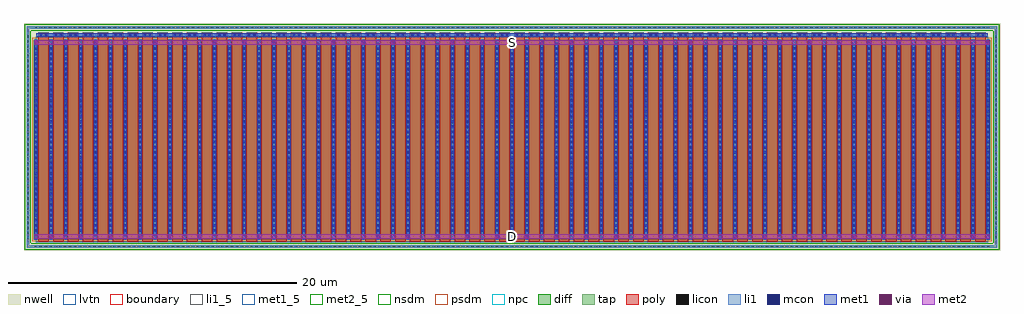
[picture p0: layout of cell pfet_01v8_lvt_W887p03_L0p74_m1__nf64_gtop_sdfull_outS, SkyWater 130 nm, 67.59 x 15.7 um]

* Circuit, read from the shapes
.subckt pfet_01v8_lvt_W887p03_L0p74_m1__nf64_gtop_sdfull_outS B D G S
XM1 D G S B sky130_fd_pr__pfet_01v8_lvt w=13.86 l=0.74 m=64
.ends

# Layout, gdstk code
import gdstk
lib = gdstk.Library(unit=1e-6, precision=1e-09)
def R(c, l, rs):  # rectangles x0, y0, x1, y1
    for r in rs: c.add(gdstk.rectangle(r[:2], r[2:], *l))
def A(c, l, x, y, w, h, nx, ny, dx, dy):  # array of equal rectangles
    R(c, l, [(x+i*dx, y+j*dy, x+i*dx+w, y+j*dy+h) for i in range(nx) for j in range(ny)])
nwell = (64, 20)
diff = (65, 20)
tap = (65, 44)
poly = (66, 20)
licon = (66, 44)
li1_5 = (67, 5)
li1 = (67, 20)
mcon = (67, 44)
met1_5 = (68, 5)
met1 = (68, 20)
via = (68, 44)
met2_5 = (69, 5)
met2 = (69, 20)
nsdm = (93, 44)
psdm = (94, 20)
npc = (95, 20)
lvtn = (125, 44)
boundary = (235, 4)

sky130_fd_pr__pfet_01v8_ = lib.new_cell('sky130_fd_pr__pfet_01v8_lvt_SZZT2C')
R(sky130_fd_pr__pfet_01v8_, nwell, [(-33.795,-7.85,33.795,7.85)])
R(sky130_fd_pr__pfet_01v8_, diff, [(-33.105,-7.11,33.105,6.75)])
R(sky130_fd_pr__pfet_01v8_, tap, [(-33.615,-7.67,33.615,-7.5), (-33.615,-7.5,-33.445,7.5), (33.445,-7.5,33.615,7.5), (-33.615,7.5,33.615,7.67)])
A(sky130_fd_pr__pfet_01v8_, poly, -32.815, -7.24, 0.74, 14.475, 64, 1, 1.03, 0)
A(sky130_fd_pr__pfet_01v8_, licon, -33.065, -7.67, 0.17, 0.17, 195, 2, 0.34, 15.17)
A(sky130_fd_pr__pfet_01v8_, licon, -33.615, -7.055, 0.17, 0.17, 1, 42, 0, 0.34)
A(sky130_fd_pr__pfet_01v8_, licon, 33.445, -7.055, 0.17, 0.17, 1, 42, 0, 0.34)
A(sky130_fd_pr__pfet_01v8_, licon, -33.045, -6.895, 0.17, 0.17, 65, 40, 1.03, 0.34)
R(sky130_fd_pr__pfet_01v8_, licon, [(-32.7,6.985,-32.53,7.155), (-32.36,6.985,-32.19,7.155), (-31.67,6.985,-31.5,7.155), (-31.33,6.985,-31.16,7.155), (-30.64,6.985,-30.47,7.155), (-30.3,6.985,-30.13,7.155), (-29.61,6.985,-29.44,7.155), (-29.27,6.985,-29.1,7.155), (-28.58,6.985,-28.41,7.155), (-28.24,6.985,-28.07,7.155), (-27.55,6.985,-27.38,7.155), (-27.21,6.985,-27.04,7.155), (-26.52,6.985,-26.35,7.155), (-26.18,6.985,-26.01,7.155), (-25.49,6.985,-25.32,7.155), (-25.15,6.985,-24.98,7.155), (-24.46,6.985,-24.29,7.155), (-24.12,6.985,-23.95,7.155), (-23.43,6.985,-23.26,7.155), (-23.09,6.985,-22.92,7.155), (-22.4,6.985,-22.23,7.155), (-22.06,6.985,-21.89,7.155), (-21.37,6.985,-21.2,7.155), (-21.03,6.985,-20.86,7.155), (-20.34,6.985,-20.17,7.155), (-20,6.985,-19.83,7.155), (-19.31,6.985,-19.14,7.155), (-18.97,6.985,-18.8,7.155), (-18.28,6.985,-18.11,7.155), (-17.94,6.985,-17.77,7.155), (-17.25,6.985,-17.08,7.155), (-16.91,6.985,-16.74,7.155), (-16.22,6.985,-16.05,7.155), (-15.88,6.985,-15.71,7.155), (-15.19,6.985,-15.02,7.155), (-14.85,6.985,-14.68,7.155), (-14.16,6.985,-13.99,7.155), (-13.82,6.985,-13.65,7.155), (-13.13,6.985,-12.96,7.155), (-12.79,6.985,-12.62,7.155), (-12.1,6.985,-11.93,7.155), (-11.76,6.985,-11.59,7.155), (-11.07,6.985,-10.9,7.155), (-10.73,6.985,-10.56,7.155), (-10.04,6.985,-9.87,7.155), (-9.7,6.985,-9.53,7.155), (-9.01,6.985,-8.84,7.155), (-8.67,6.985,-8.5,7.155), (-7.98,6.985,-7.81,7.155), (-7.64,6.985,-7.47,7.155), (-6.95,6.985,-6.78,7.155), (-6.61,6.985,-6.44,7.155), (-5.92,6.985,-5.75,7.155), (-5.58,6.985,-5.41,7.155), (-4.89,6.985,-4.72,7.155), (-4.55,6.985,-4.38,7.155), (-3.86,6.985,-3.69,7.155), (-3.52,6.985,-3.35,7.155), (-2.83,6.985,-2.66,7.155), (-2.49,6.985,-2.32,7.155), (-1.8,6.985,-1.63,7.155), (-1.46,6.985,-1.29,7.155), (-0.77,6.985,-0.6,7.155), (-0.43,6.985,-0.26,7.155), (0.26,6.985,0.43,7.155), (0.6,6.985,0.77,7.155), (1.29,6.985,1.46,7.155), (1.63,6.985,1.8,7.155), (2.32,6.985,2.49,7.155), (2.66,6.985,2.83,7.155), (3.35,6.985,3.52,7.155), (3.69,6.985,3.86,7.155), (4.38,6.985,4.55,7.155), (4.72,6.985,4.89,7.155), (5.41,6.985,5.58,7.155), (5.75,6.985,5.92,7.155), (6.44,6.985,6.61,7.155), (6.78,6.985,6.95,7.155), (7.47,6.985,7.64,7.155), (7.81,6.985,7.98,7.155), (8.5,6.985,8.67,7.155), (8.84,6.985,9.01,7.155), (9.53,6.985,9.7,7.155), (9.87,6.985,10.04,7.155), (10.56,6.985,10.73,7.155), (10.9,6.985,11.07,7.155), (11.59,6.985,11.76,7.155), (11.93,6.985,12.1,7.155), (12.62,6.985,12.79,7.155), (12.96,6.985,13.13,7.155), (13.65,6.985,13.82,7.155), (13.99,6.985,14.16,7.155), (14.68,6.985,14.85,7.155), (15.02,6.985,15.19,7.155), (15.71,6.985,15.88,7.155), (16.05,6.985,16.22,7.155), (16.74,6.985,16.91,7.155), (17.08,6.985,17.25,7.155), (17.77,6.985,17.94,7.155), (18.11,6.985,18.28,7.155), (18.8,6.985,18.97,7.155), (19.14,6.985,19.31,7.155), (19.83,6.985,20,7.155), (20.17,6.985,20.34,7.155), (20.86,6.985,21.03,7.155), (21.2,6.985,21.37,7.155), (21.89,6.985,22.06,7.155), (22.23,6.985,22.4,7.155), (22.92,6.985,23.09,7.155), (23.26,6.985,23.43,7.155), (23.95,6.985,24.12,7.155), (24.29,6.985,24.46,7.155), (24.98,6.985,25.15,7.155), (25.32,6.985,25.49,7.155), (26.01,6.985,26.18,7.155), (26.35,6.985,26.52,7.155), (27.04,6.985,27.21,7.155), (27.38,6.985,27.55,7.155), (28.07,6.985,28.24,7.155), (28.41,6.985,28.58,7.155), (29.1,6.985,29.27,7.155), (29.44,6.985,29.61,7.155), (30.13,6.985,30.3,7.155), (30.47,6.985,30.64,7.155), (31.16,6.985,31.33,7.155), (31.5,6.985,31.67,7.155), (32.19,6.985,32.36,7.155), (32.53,6.985,32.7,7.155)])
A(sky130_fd_pr__pfet_01v8_, li1, -33.045, -7.13, 0.17, 13.9, 65, 1, 1.03, 0)
R(sky130_fd_pr__pfet_01v8_, li1, [(-33.615,-7.67,33.615,-7.5), (-33.615,-7.5,-33.445,7.5), (33.445,-7.5,33.615,7.5), (-32.96,6.985,32.96,7.155), (-33.615,7.5,33.615,7.67)])
A(sky130_fd_pr__pfet_01v8_, mcon, -33.045, -6.925, 0.17, 0.17, 65, 38, 1.03, 0.36)
R(sky130_fd_pr__pfet_01v8_, mcon, [(-32.71,6.985,-32.54,7.155), (-32.35,6.985,-32.18,7.155), (-31.68,6.985,-31.51,7.155), (-31.32,6.985,-31.15,7.155), (-30.65,6.985,-30.48,7.155), (-30.29,6.985,-30.12,7.155), (-29.62,6.985,-29.45,7.155), (-29.26,6.985,-29.09,7.155), (-28.59,6.985,-28.42,7.155), (-28.23,6.985,-28.06,7.155), (-27.56,6.985,-27.39,7.155), (-27.2,6.985,-27.03,7.155), (-26.53,6.985,-26.36,7.155), (-26.17,6.985,-26,7.155), (-25.5,6.985,-25.33,7.155), (-25.14,6.985,-24.97,7.155), (-24.47,6.985,-24.3,7.155), (-24.11,6.985,-23.94,7.155), (-23.44,6.985,-23.27,7.155), (-23.08,6.985,-22.91,7.155), (-22.41,6.985,-22.24,7.155), (-22.05,6.985,-21.88,7.155), (-21.38,6.985,-21.21,7.155), (-21.02,6.985,-20.85,7.155), (-20.35,6.985,-20.18,7.155), (-19.99,6.985,-19.82,7.155), (-19.32,6.985,-19.15,7.155), (-18.96,6.985,-18.79,7.155), (-18.29,6.985,-18.12,7.155), (-17.93,6.985,-17.76,7.155), (-17.26,6.985,-17.09,7.155), (-16.9,6.985,-16.73,7.155), (-16.23,6.985,-16.06,7.155), (-15.87,6.985,-15.7,7.155), (-15.2,6.985,-15.03,7.155), (-14.84,6.985,-14.67,7.155), (-14.17,6.985,-14,7.155), (-13.81,6.985,-13.64,7.155), (-13.14,6.985,-12.97,7.155), (-12.78,6.985,-12.61,7.155), (-12.11,6.985,-11.94,7.155), (-11.75,6.985,-11.58,7.155), (-11.08,6.985,-10.91,7.155), (-10.72,6.985,-10.55,7.155), (-10.05,6.985,-9.88,7.155), (-9.69,6.985,-9.52,7.155), (-9.02,6.985,-8.85,7.155), (-8.66,6.985,-8.49,7.155), (-7.99,6.985,-7.82,7.155), (-7.63,6.985,-7.46,7.155), (-6.96,6.985,-6.79,7.155), (-6.6,6.985,-6.43,7.155), (-5.93,6.985,-5.76,7.155), (-5.57,6.985,-5.4,7.155), (-4.9,6.985,-4.73,7.155), (-4.54,6.985,-4.37,7.155), (-3.87,6.985,-3.7,7.155), (-3.51,6.985,-3.34,7.155), (-2.84,6.985,-2.67,7.155), (-2.48,6.985,-2.31,7.155), (-1.81,6.985,-1.64,7.155), (-1.45,6.985,-1.28,7.155), (-0.78,6.985,-0.61,7.155), (-0.42,6.985,-0.25,7.155), (0.25,6.985,0.42,7.155), (0.61,6.985,0.78,7.155), (1.28,6.985,1.45,7.155), (1.64,6.985,1.81,7.155), (2.31,6.985,2.48,7.155), (2.67,6.985,2.84,7.155), (3.34,6.985,3.51,7.155), (3.7,6.985,3.87,7.155), (4.37,6.985,4.54,7.155), (4.73,6.985,4.9,7.155), (5.4,6.985,5.57,7.155), (5.76,6.985,5.93,7.155), (6.43,6.985,6.6,7.155), (6.79,6.985,6.96,7.155), (7.46,6.985,7.63,7.155), (7.82,6.985,7.99,7.155), (8.49,6.985,8.66,7.155), (8.85,6.985,9.02,7.155), (9.52,6.985,9.69,7.155), (9.88,6.985,10.05,7.155), (10.55,6.985,10.72,7.155), (10.91,6.985,11.08,7.155), (11.58,6.985,11.75,7.155), (11.94,6.985,12.11,7.155), (12.61,6.985,12.78,7.155), (12.97,6.985,13.14,7.155), (13.64,6.985,13.81,7.155), (14,6.985,14.17,7.155), (14.67,6.985,14.84,7.155), (15.03,6.985,15.2,7.155), (15.7,6.985,15.87,7.155), (16.06,6.985,16.23,7.155), (16.73,6.985,16.9,7.155), (17.09,6.985,17.26,7.155), (17.76,6.985,17.93,7.155), (18.12,6.985,18.29,7.155), (18.79,6.985,18.96,7.155), (19.15,6.985,19.32,7.155), (19.82,6.985,19.99,7.155), (20.18,6.985,20.35,7.155), (20.85,6.985,21.02,7.155), (21.21,6.985,21.38,7.155), (21.88,6.985,22.05,7.155), (22.24,6.985,22.41,7.155), (22.91,6.985,23.08,7.155), (23.27,6.985,23.44,7.155), (23.94,6.985,24.11,7.155), (24.3,6.985,24.47,7.155), (24.97,6.985,25.14,7.155), (25.33,6.985,25.5,7.155), (26,6.985,26.17,7.155), (26.36,6.985,26.53,7.155), (27.03,6.985,27.2,7.155), (27.39,6.985,27.56,7.155), (28.06,6.985,28.23,7.155), (28.42,6.985,28.59,7.155), (29.09,6.985,29.26,7.155), (29.45,6.985,29.62,7.155), (30.12,6.985,30.29,7.155), (30.48,6.985,30.65,7.155), (31.15,6.985,31.32,7.155), (31.51,6.985,31.68,7.155), (32.18,6.985,32.35,7.155), (32.54,6.985,32.71,7.155)])
A(sky130_fd_pr__pfet_01v8_, met1, -33.075, -7.11, 0.23, 13.86, 65, 1, 1.03, 0)
A(sky130_fd_pr__pfet_01v8_, met1, -32.795, 6.955, 0.7, 0.03, 64, 2, 1.03, 0.2)
R(sky130_fd_pr__pfet_01v8_, met1, [(-32.96,6.985,32.96,7.155)])
R(sky130_fd_pr__pfet_01v8_, nsdm, [(-33.74,-7.795,33.74,-7.375), (-33.74,-7.375,-33.32,7.375), (33.32,-7.375,33.74,7.375), (-33.74,7.375,33.74,7.795)])
R(sky130_fd_pr__pfet_01v8_, psdm, [(-33.23,-7.235,33.23,6.875)])
A(sky130_fd_pr__pfet_01v8_, npc, -32.8, 6.885, 0.71, 0.37, 64, 1, 1.03, 0)
R(sky130_fd_pr__pfet_01v8_, lvtn, [(-32.995,-7.29,32.995,6.93)])
R(sky130_fd_pr__pfet_01v8_, boundary, [(-33.53,-7.585,33.53,7.585)])
sky130_fd_pr__pfet_01v8_.add(gdstk.Label('B', (0,-7.585), layer=67, texttype=5))
sky130_fd_pr__pfet_01v8_.add(gdstk.Label('D0', (-32.96,-0.18), layer=67, texttype=5))
sky130_fd_pr__pfet_01v8_.add(gdstk.Label('G', (32.445,7.07), layer=67, texttype=5))
sky130_fd_pr__pfet_01v8_.add(gdstk.Label('G', (31.415,7.07), layer=67, texttype=5))
sky130_fd_pr__pfet_01v8_.add(gdstk.Label('G', (30.385,7.07), layer=67, texttype=5))
sky130_fd_pr__pfet_01v8_.add(gdstk.Label('G', (29.355,7.07), layer=67, texttype=5))
sky130_fd_pr__pfet_01v8_.add(gdstk.Label('G', (28.325,7.07), layer=67, texttype=5))
sky130_fd_pr__pfet_01v8_.add(gdstk.Label('G', (27.295,7.07), layer=67, texttype=5))
sky130_fd_pr__pfet_01v8_.add(gdstk.Label('G', (26.265,7.07), layer=67, texttype=5))
sky130_fd_pr__pfet_01v8_.add(gdstk.Label('G', (25.235,7.07), layer=67, texttype=5))
sky130_fd_pr__pfet_01v8_.add(gdstk.Label('G', (24.205,7.07), layer=67, texttype=5))
sky130_fd_pr__pfet_01v8_.add(gdstk.Label('G', (23.175,7.07), layer=67, texttype=5))
sky130_fd_pr__pfet_01v8_.add(gdstk.Label('G', (22.145,7.07), layer=67, texttype=5))
sky130_fd_pr__pfet_01v8_.add(gdstk.Label('G', (21.115,7.07), layer=67, texttype=5))
sky130_fd_pr__pfet_01v8_.add(gdstk.Label('G', (20.085,7.07), layer=67, texttype=5))
sky130_fd_pr__pfet_01v8_.add(gdstk.Label('G', (19.055,7.07), layer=67, texttype=5))
sky130_fd_pr__pfet_01v8_.add(gdstk.Label('G', (18.025,7.07), layer=67, texttype=5))
sky130_fd_pr__pfet_01v8_.add(gdstk.Label('G', (16.995,7.07), layer=67, texttype=5))
sky130_fd_pr__pfet_01v8_.add(gdstk.Label('G', (15.965,7.07), layer=67, texttype=5))
sky130_fd_pr__pfet_01v8_.add(gdstk.Label('G', (14.935,7.07), layer=67, texttype=5))
sky130_fd_pr__pfet_01v8_.add(gdstk.Label('G', (13.905,7.07), layer=67, texttype=5))
sky130_fd_pr__pfet_01v8_.add(gdstk.Label('G', (12.875,7.07), layer=67, texttype=5))
sky130_fd_pr__pfet_01v8_.add(gdstk.Label('G', (11.845,7.07), layer=67, texttype=5))
sky130_fd_pr__pfet_01v8_.add(gdstk.Label('G', (10.815,7.07), layer=67, texttype=5))
sky130_fd_pr__pfet_01v8_.add(gdstk.Label('G', (9.785,7.07), layer=67, texttype=5))
sky130_fd_pr__pfet_01v8_.add(gdstk.Label('G', (8.755,7.07), layer=67, texttype=5))
sky130_fd_pr__pfet_01v8_.add(gdstk.Label('G', (7.725,7.07), layer=67, texttype=5))
sky130_fd_pr__pfet_01v8_.add(gdstk.Label('G', (6.695,7.07), layer=67, texttype=5))
sky130_fd_pr__pfet_01v8_.add(gdstk.Label('G', (5.665,7.07), layer=67, texttype=5))
sky130_fd_pr__pfet_01v8_.add(gdstk.Label('G', (4.635,7.07), layer=67, texttype=5))
sky130_fd_pr__pfet_01v8_.add(gdstk.Label('G', (3.605,7.07), layer=67, texttype=5))
sky130_fd_pr__pfet_01v8_.add(gdstk.Label('G', (2.575,7.07), layer=67, texttype=5))
sky130_fd_pr__pfet_01v8_.add(gdstk.Label('G', (1.545,7.07), layer=67, texttype=5))
sky130_fd_pr__pfet_01v8_.add(gdstk.Label('G', (0.515,7.07), layer=67, texttype=5))
sky130_fd_pr__pfet_01v8_.add(gdstk.Label('G', (-0.515,7.07), layer=67, texttype=5))
sky130_fd_pr__pfet_01v8_.add(gdstk.Label('G', (-1.545,7.07), layer=67, texttype=5))
sky130_fd_pr__pfet_01v8_.add(gdstk.Label('G', (-2.575,7.07), layer=67, texttype=5))
sky130_fd_pr__pfet_01v8_.add(gdstk.Label('G', (-3.605,7.07), layer=67, texttype=5))
sky130_fd_pr__pfet_01v8_.add(gdstk.Label('G', (-4.635,7.07), layer=67, texttype=5))
sky130_fd_pr__pfet_01v8_.add(gdstk.Label('G', (-5.665,7.07), layer=67, texttype=5))
sky130_fd_pr__pfet_01v8_.add(gdstk.Label('G', (-6.695,7.07), layer=67, texttype=5))
sky130_fd_pr__pfet_01v8_.add(gdstk.Label('G', (-7.725,7.07), layer=67, texttype=5))
sky130_fd_pr__pfet_01v8_.add(gdstk.Label('G', (-8.755,7.07), layer=67, texttype=5))
sky130_fd_pr__pfet_01v8_.add(gdstk.Label('G', (-9.785,7.07), layer=67, texttype=5))
sky130_fd_pr__pfet_01v8_.add(gdstk.Label('G', (-10.815,7.07), layer=67, texttype=5))
sky130_fd_pr__pfet_01v8_.add(gdstk.Label('G', (-11.845,7.07), layer=67, texttype=5))
sky130_fd_pr__pfet_01v8_.add(gdstk.Label('G', (-12.875,7.07), layer=67, texttype=5))
sky130_fd_pr__pfet_01v8_.add(gdstk.Label('G', (-13.905,7.07), layer=67, texttype=5))
sky130_fd_pr__pfet_01v8_.add(gdstk.Label('G', (-14.935,7.07), layer=67, texttype=5))
sky130_fd_pr__pfet_01v8_.add(gdstk.Label('G', (-15.965,7.07), layer=67, texttype=5))
sky130_fd_pr__pfet_01v8_.add(gdstk.Label('G', (-16.995,7.07), layer=67, texttype=5))
sky130_fd_pr__pfet_01v8_.add(gdstk.Label('G', (-18.025,7.07), layer=67, texttype=5))
sky130_fd_pr__pfet_01v8_.add(gdstk.Label('G', (-19.055,7.07), layer=67, texttype=5))
sky130_fd_pr__pfet_01v8_.add(gdstk.Label('G', (-20.085,7.07), layer=67, texttype=5))
sky130_fd_pr__pfet_01v8_.add(gdstk.Label('G', (-21.115,7.07), layer=67, texttype=5))
sky130_fd_pr__pfet_01v8_.add(gdstk.Label('G', (-22.145,7.07), layer=67, texttype=5))
sky130_fd_pr__pfet_01v8_.add(gdstk.Label('G', (-23.175,7.07), layer=67, texttype=5))
sky130_fd_pr__pfet_01v8_.add(gdstk.Label('G', (-24.205,7.07), layer=67, texttype=5))
sky130_fd_pr__pfet_01v8_.add(gdstk.Label('G', (-25.235,7.07), layer=67, texttype=5))
sky130_fd_pr__pfet_01v8_.add(gdstk.Label('G', (-26.265,7.07), layer=67, texttype=5))
sky130_fd_pr__pfet_01v8_.add(gdstk.Label('G', (-27.295,7.07), layer=67, texttype=5))
sky130_fd_pr__pfet_01v8_.add(gdstk.Label('G', (-28.325,7.07), layer=67, texttype=5))
sky130_fd_pr__pfet_01v8_.add(gdstk.Label('G', (-29.355,7.07), layer=67, texttype=5))
sky130_fd_pr__pfet_01v8_.add(gdstk.Label('G', (-30.385,7.07), layer=67, texttype=5))
sky130_fd_pr__pfet_01v8_.add(gdstk.Label('G', (-31.415,7.07), layer=67, texttype=5))
sky130_fd_pr__pfet_01v8_.add(gdstk.Label('G', (-32.445,7.07), layer=67, texttype=5))
sky130_fd_pr__pfet_01v8_.add(gdstk.Label('S1', (-31.93,-0.18), layer=67, texttype=5))
sky130_fd_pr__pfet_01v8_.add(gdstk.Label('D2', (-30.9,-0.18), layer=67, texttype=5))
sky130_fd_pr__pfet_01v8_.add(gdstk.Label('S3', (-29.87,-0.18), layer=67, texttype=5))
sky130_fd_pr__pfet_01v8_.add(gdstk.Label('D4', (-28.84,-0.18), layer=67, texttype=5))
sky130_fd_pr__pfet_01v8_.add(gdstk.Label('S5', (-27.81,-0.18), layer=67, texttype=5))
sky130_fd_pr__pfet_01v8_.add(gdstk.Label('D6', (-26.78,-0.18), layer=67, texttype=5))
sky130_fd_pr__pfet_01v8_.add(gdstk.Label('S7', (-25.75,-0.18), layer=67, texttype=5))
sky130_fd_pr__pfet_01v8_.add(gdstk.Label('D8', (-24.72,-0.18), layer=67, texttype=5))
sky130_fd_pr__pfet_01v8_.add(gdstk.Label('S9', (-23.69,-0.18), layer=67, texttype=5))
sky130_fd_pr__pfet_01v8_.add(gdstk.Label('D10', (-22.66,-0.18), layer=67, texttype=5))
sky130_fd_pr__pfet_01v8_.add(gdstk.Label('S11', (-21.63,-0.18), layer=67, texttype=5))
sky130_fd_pr__pfet_01v8_.add(gdstk.Label('D12', (-20.6,-0.18), layer=67, texttype=5))
sky130_fd_pr__pfet_01v8_.add(gdstk.Label('S13', (-19.57,-0.18), layer=67, texttype=5))
sky130_fd_pr__pfet_01v8_.add(gdstk.Label('D14', (-18.54,-0.18), layer=67, texttype=5))
sky130_fd_pr__pfet_01v8_.add(gdstk.Label('S15', (-17.51,-0.18), layer=67, texttype=5))
sky130_fd_pr__pfet_01v8_.add(gdstk.Label('D16', (-16.48,-0.18), layer=67, texttype=5))
sky130_fd_pr__pfet_01v8_.add(gdstk.Label('S17', (-15.45,-0.18), layer=67, texttype=5))
sky130_fd_pr__pfet_01v8_.add(gdstk.Label('D18', (-14.42,-0.18), layer=67, texttype=5))
sky130_fd_pr__pfet_01v8_.add(gdstk.Label('S19', (-13.39,-0.18), layer=67, texttype=5))
sky130_fd_pr__pfet_01v8_.add(gdstk.Label('D20', (-12.36,-0.18), layer=67, texttype=5))
sky130_fd_pr__pfet_01v8_.add(gdstk.Label('S21', (-11.33,-0.18), layer=67, texttype=5))
sky130_fd_pr__pfet_01v8_.add(gdstk.Label('D22', (-10.3,-0.18), layer=67, texttype=5))
sky130_fd_pr__pfet_01v8_.add(gdstk.Label('S23', (-9.27,-0.18), layer=67, texttype=5))
sky130_fd_pr__pfet_01v8_.add(gdstk.Label('D24', (-8.24,-0.18), layer=67, texttype=5))
sky130_fd_pr__pfet_01v8_.add(gdstk.Label('S25', (-7.21,-0.18), layer=67, texttype=5))
sky130_fd_pr__pfet_01v8_.add(gdstk.Label('D26', (-6.18,-0.18), layer=67, texttype=5))
sky130_fd_pr__pfet_01v8_.add(gdstk.Label('S27', (-5.15,-0.18), layer=67, texttype=5))
sky130_fd_pr__pfet_01v8_.add(gdstk.Label('D28', (-4.12,-0.18), layer=67, texttype=5))
sky130_fd_pr__pfet_01v8_.add(gdstk.Label('S29', (-3.09,-0.18), layer=67, texttype=5))
sky130_fd_pr__pfet_01v8_.add(gdstk.Label('D30', (-2.06,-0.18), layer=67, texttype=5))
sky130_fd_pr__pfet_01v8_.add(gdstk.Label('S31', (-1.03,-0.18), layer=67, texttype=5))
sky130_fd_pr__pfet_01v8_.add(gdstk.Label('D32', (0,-0.18), layer=67, texttype=5))
sky130_fd_pr__pfet_01v8_.add(gdstk.Label('S33', (1.03,-0.18), layer=67, texttype=5))
sky130_fd_pr__pfet_01v8_.add(gdstk.Label('D34', (2.06,-0.18), layer=67, texttype=5))
sky130_fd_pr__pfet_01v8_.add(gdstk.Label('S35', (3.09,-0.18), layer=67, texttype=5))
sky130_fd_pr__pfet_01v8_.add(gdstk.Label('D36', (4.12,-0.18), layer=67, texttype=5))
sky130_fd_pr__pfet_01v8_.add(gdstk.Label('S37', (5.15,-0.18), layer=67, texttype=5))
sky130_fd_pr__pfet_01v8_.add(gdstk.Label('D38', (6.18,-0.18), layer=67, texttype=5))
sky130_fd_pr__pfet_01v8_.add(gdstk.Label('S39', (7.21,-0.18), layer=67, texttype=5))
sky130_fd_pr__pfet_01v8_.add(gdstk.Label('D40', (8.24,-0.18), layer=67, texttype=5))
sky130_fd_pr__pfet_01v8_.add(gdstk.Label('S41', (9.27,-0.18), layer=67, texttype=5))
sky130_fd_pr__pfet_01v8_.add(gdstk.Label('D42', (10.3,-0.18), layer=67, texttype=5))
sky130_fd_pr__pfet_01v8_.add(gdstk.Label('S43', (11.33,-0.18), layer=67, texttype=5))
sky130_fd_pr__pfet_01v8_.add(gdstk.Label('D44', (12.36,-0.18), layer=67, texttype=5))
sky130_fd_pr__pfet_01v8_.add(gdstk.Label('S45', (13.39,-0.18), layer=67, texttype=5))
sky130_fd_pr__pfet_01v8_.add(gdstk.Label('D46', (14.42,-0.18), layer=67, texttype=5))
sky130_fd_pr__pfet_01v8_.add(gdstk.Label('S47', (15.45,-0.18), layer=67, texttype=5))
sky130_fd_pr__pfet_01v8_.add(gdstk.Label('D48', (16.48,-0.18), layer=67, texttype=5))
sky130_fd_pr__pfet_01v8_.add(gdstk.Label('S49', (17.51,-0.18), layer=67, texttype=5))
sky130_fd_pr__pfet_01v8_.add(gdstk.Label('D50', (18.54,-0.18), layer=67, texttype=5))
sky130_fd_pr__pfet_01v8_.add(gdstk.Label('S51', (19.57,-0.18), layer=67, texttype=5))
sky130_fd_pr__pfet_01v8_.add(gdstk.Label('D52', (20.6,-0.18), layer=67, texttype=5))
sky130_fd_pr__pfet_01v8_.add(gdstk.Label('S53', (21.63,-0.18), layer=67, texttype=5))
sky130_fd_pr__pfet_01v8_.add(gdstk.Label('D54', (22.66,-0.18), layer=67, texttype=5))
sky130_fd_pr__pfet_01v8_.add(gdstk.Label('S55', (23.69,-0.18), layer=67, texttype=5))
sky130_fd_pr__pfet_01v8_.add(gdstk.Label('D56', (24.72,-0.18), layer=67, texttype=5))
sky130_fd_pr__pfet_01v8_.add(gdstk.Label('S57', (25.75,-0.18), layer=67, texttype=5))
sky130_fd_pr__pfet_01v8_.add(gdstk.Label('D58', (26.78,-0.18), layer=67, texttype=5))
sky130_fd_pr__pfet_01v8_.add(gdstk.Label('S59', (27.81,-0.18), layer=67, texttype=5))
sky130_fd_pr__pfet_01v8_.add(gdstk.Label('D60', (28.84,-0.18), layer=67, texttype=5))
sky130_fd_pr__pfet_01v8_.add(gdstk.Label('S61', (29.87,-0.18), layer=67, texttype=5))
sky130_fd_pr__pfet_01v8_.add(gdstk.Label('D62', (30.9,-0.18), layer=67, texttype=5))
sky130_fd_pr__pfet_01v8_.add(gdstk.Label('S63', (31.93,-0.18), layer=67, texttype=5))

pfet_01v8_lvt_w887p03_l0 = lib.new_cell('pfet_01v8_lvt_W887p03_L0p74_m1__nf64_gtop_sdfull_outS')
R(pfet_01v8_lvt_w887p03_l0, li1_5, [(33.445,-0.085,33.615,0.085)])
R(pfet_01v8_lvt_w887p03_l0, li1, [(33.445,-0.085,33.615,0.085)])
R(pfet_01v8_lvt_w887p03_l0, met1_5, [(0.57,14.54,66.49,14.77)])
A(pfet_01v8_lvt_w887p03_l0, met1, 1.47, 0.525, 0.26, 0.32, 32, 1, 2.06, 0)
A(pfet_01v8_lvt_w887p03_l0, met1, 0.44, 13.965, 0.26, 0.32, 33, 1, 2.06, 0)
R(pfet_01v8_lvt_w887p03_l0, met1, [(0.57,14.54,66.49,14.77)])
A(pfet_01v8_lvt_w887p03_l0, via, 1.525, 0.61, 0.15, 0.15, 32, 1, 2.06, 0)
A(pfet_01v8_lvt_w887p03_l0, via, 0.495, 14.05, 0.15, 0.15, 33, 1, 2.06, 0)
R(pfet_01v8_lvt_w887p03_l0, met2_5, [(0.435,0.525,66.625,0.845), (0.435,13.965,66.625,14.285)])
R(pfet_01v8_lvt_w887p03_l0, met2, [(0.435,0.525,66.625,0.845), (0.435,13.965,66.625,14.285)])
pfet_01v8_lvt_w887p03_l0.add(gdstk.Reference(sky130_fd_pr__pfet_01v8_, (33.53,7.585)))
pfet_01v8_lvt_w887p03_l0.add(gdstk.Label('S', (33.53,14.125), layer=69, texttype=5))
pfet_01v8_lvt_w887p03_l0.add(gdstk.Label('D', (33.53,0.685), layer=69, texttype=5))
pfet_01v8_lvt_w887p03_l0.add(gdstk.Label('G', (33.53,14.655), layer=68, texttype=5))
pfet_01v8_lvt_w887p03_l0.add(gdstk.Label('B', (33.53,0), layer=67, texttype=5))

lib.write_gds('pfet_01v8_lvt_W887p03_L0p74_m1__nf64_gtop_sdfull_outS.gds')
